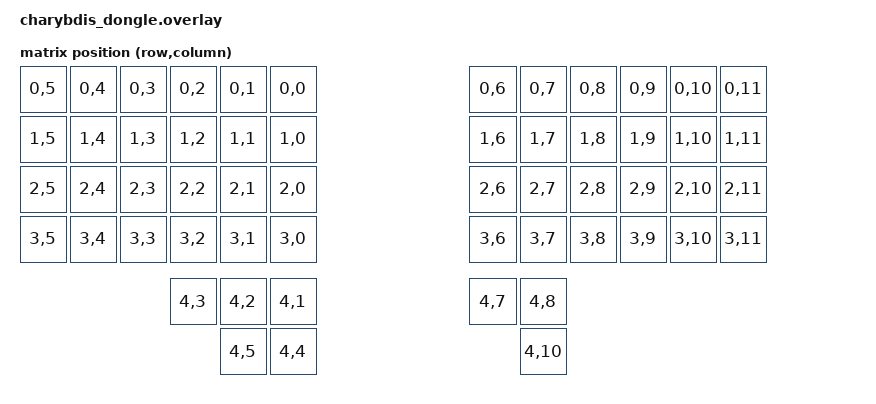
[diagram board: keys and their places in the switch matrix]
/*
 * ДОНГЛ (Seeed XIAO nRF52840). Роль central, физических клавиш нет.
 *
 * Матрица и физическая раскладка — копия charybdis.dtsi, но:
 *   - у layout-узла убрано свойство kscan (требование документации ZMK)
 *   - нет chosen zmk,underglow: на донгле нет led_strip
 *   - kscan заменён на mock, чтобы не занимать GPIO
 *
 * При правке матрицы в основном варианте синхронизировать и здесь.
 */

#include <dt-bindings/zmk/matrix_transform.h>
#include <dt-bindings/led/led.h>
#include <physical_layouts.dtsi>
#include <zephyr/dt-bindings/input/input-event-codes.h>
#include <input/processors.dtsi>

/ {
    chosen {
        zmk,kscan = &mock_kscan;
        zmk,physical-layout = &charybdis_physical_layout;
    };

    mock_kscan: mock_kscan_0 {
        compatible = "zmk,kscan-mock";
        columns = <0>;
        rows = <0>;
        events = <0>;
    };

    charybdis_physical_layout: charybdis_physical_layout {
        compatible = "zmk,physical-layout";
        display-name = "Charybdis 4x6";
        transform = <&default_transform>;
        keys =
            // Row 0: left (6 keys) + right (6 keys)
            <&key_physical_attrs 100 100   0   0 0 0 0>  // L0: Grave
          , <&key_physical_attrs 100 100 100   0 0 0 0>  // L1: N1
          , <&key_physical_attrs 100 100 200   0 0 0 0>  // L2: N2
          , <&key_physical_attrs 100 100 300   0 0 0 0>  // L3: N3
          , <&key_physical_attrs 100 100 400   0 0 0 0>  // L4: N4
          , <&key_physical_attrs 100 100 500   0 0 0 0>  // L5: N5
          , <&key_physical_attrs 100 100 900   0 0 0 0>  // R0: N6
          , <&key_physical_attrs 100 100 1000  0 0 0 0>  // R1: N7
          , <&key_physical_attrs 100 100 1100  0 0 0 0>  // R2: N8
          , <&key_physical_attrs 100 100 1200  0 0 0 0>  // R3: N9
          , <&key_physical_attrs 100 100 1300  0 0 0 0>  // R4: N0
          , <&key_physical_attrs 100 100 1400  0 0 0 0>  // R5: Backspace
            // Row 1: left (6 keys) + right (6 keys)
          , <&key_physical_attrs 100 100   0 100 0 0 0>  // L0: Tab
          , <&key_physical_attrs 100 100 100 100 0 0 0>  // L1: Q
          , <&key_physical_attrs 100 100 200 100 0 0 0>  // L2: W
          , <&key_physical_attrs 100 100 300 100 0 0 0>  // L3: E
          , <&key_physical_attrs 100 100 400 100 0 0 0>  // L4: R
          , <&key_physical_attrs 100 100 500 100 0 0 0>  // L5: T
          , <&key_physical_attrs 100 100 900 100 0 0 0>  // R0: Y
          , <&key_physical_attrs 100 100 1000 100 0 0 0> // R1: U
          , <&key_physical_attrs 100 100 1100 100 0 0 0> // R2: I
          , <&key_physical_attrs 100 100 1200 100 0 0 0> // R3: O
          , <&key_physical_attrs 100 100 1300 100 0 0 0> // R4: P
          , <&key_physical_attrs 100 100 1400 100 0 0 0> // R5: LBKT
            // Row 2: left (6 keys) + right (6 keys)
          , <&key_physical_attrs 100 100   0 200 0 0 0>  // L0: Caps
          , <&key_physical_attrs 100 100 100 200 0 0 0>  // L1: A
          , <&key_physical_attrs 100 100 200 200 0 0 0>  // L2: S
          , <&key_physical_attrs 100 100 300 200 0 0 0>  // L3: D
          , <&key_physical_attrs 100 100 400 200 0 0 0>  // L4: F
          , <&key_physical_attrs 100 100 500 200 0 0 0>  // L5: G
          , <&key_physical_attrs 100 100 900 200 0 0 0>  // R0: H
          , <&key_physical_attrs 100 100 1000 200 0 0 0> // R1: J
          , <&key_physical_attrs 100 100 1100 200 0 0 0> // R2: K
          , <&key_physical_attrs 100 100 1200 200 0 0 0> // R3: L
          , <&key_physical_attrs 100 100 1300 200 0 0 0> // R4: ;
          , <&key_physical_attrs 100 100 1400 200 0 0 0> // R5: '
            // Row 3: left (6 keys) + right (6 keys)
          , <&key_physical_attrs 100 100   0 300 0 0 0>  // L0: LShift
          , <&key_physical_attrs 100 100 100 300 0 0 0>  // L1: Z
          , <&key_physical_attrs 100 100 200 300 0 0 0>  // L2: X
          , <&key_physical_attrs 100 100 300 300 0 0 0>  // L3: C
          , <&key_physical_attrs 100 100 400 300 0 0 0>  // L4: V
          , <&key_physical_attrs 100 100 500 300 0 0 0>  // L5: B
          , <&key_physical_attrs 100 100 900 300 0 0 0>  // R0: N
          , <&key_physical_attrs 100 100 1000 300 0 0 0> // R1: M
          , <&key_physical_attrs 100 100 1100 300 0 0 0> // R2: ,
          , <&key_physical_attrs 100 100 1200 300 0 0 0> // R3: .
          , <&key_physical_attrs 100 100 1300 300 0 0 0> // R4: /
          , <&key_physical_attrs 100 100 1400 300 0 0 0> // R5: RShift
            // Подписи ниже — привязки слоя QWERTY из charybdis.keymap (для ориентации при чтении).
            // Thumbs left: 3 keys (row 4: RC(4,3) RC(4,2) RC(4,1))
          , <&key_physical_attrs 100 100 300 425 0 0 0>  // LT0: GUI
          , <&key_physical_attrs 100 100 400 425 0 0 0>  // LT1: Space
          , <&key_physical_attrs 100 100 500 425 0 0 0>  // LT2: MO(6) — corne_1 (стрелки на HJKL)
            // Thumbs right: 2 keys (row 4: RC(4,7) RC(4,8))
          , <&key_physical_attrs 100 100 900 425 0 0 0>  // RT0: MO(7) — corne_2 (мышь на HJKL)
          , <&key_physical_attrs 100 100 1000 425 0 0 0> // RT1: Space
            // Thumbs left bottom: 2 keys (RC(4,5) RC(4,4))
          , <&key_physical_attrs 100 100 400 525 0 0 0>  // LT3: Ctrl
          , <&key_physical_attrs 100 100 500 525 0 0 0>  // LT4: Alt
            // Thumb right bottom: 1 key (RC(4,10))
          , <&key_physical_attrs 100 100 1000 525 0 0 0> // RT2: Enter
          ;
    };

    default_transform: keymap_transform_0 {
		compatible = "zmk,matrix-transform";
        columns = <12>;
        rows = <5>;

        map = <
			RC(0,5) RC(0,4) RC(0,3) RC(0,2) RC(0,1) RC(0,0)                   RC(0,6) RC(0,7) RC(0,8) RC(0,9) RC(0,10) RC(0,11)
			RC(1,5) RC(1,4) RC(1,3) RC(1,2) RC(1,1) RC(1,0)                   RC(1,6) RC(1,7) RC(1,8) RC(1,9) RC(1,10) RC(1,11)
			RC(2,5) RC(2,4) RC(2,3) RC(2,2) RC(2,1) RC(2,0)                   RC(2,6) RC(2,7) RC(2,8) RC(2,9) RC(2,10) RC(2,11)
			RC(3,5) RC(3,4) RC(3,3) RC(3,2) RC(3,1) RC(3,0)                   RC(3,6) RC(3,7) RC(3,8) RC(3,9) RC(3,10) RC(3,11)
					                RC(4,3) RC(4,2) RC(4,1)                   RC(4,7)  RC(4,8)
									        RC(4,5) RC(4,4)                   RC(4,10) 
        >;
    };
	

    /*
     * Приёмник трекбола с правой половины. reg должен совпадать с
     * trackball_split в charybdis_right_dongle.overlay.
     */
    trackball_split: trackball_split@0 {
        compatible = "zmk,input-split";
        reg = <0>;
    };

    /*
     * Вся обработка указателя живёт здесь, а не в драйвере: на периферии нет
     * раскладки, поэтому режимы трекбола решаются только на central.
     *
     * Ускорение при этом остаётся в драйвере на периферии — оно чисто
     * арифметическое и от раскладки не зависит.
     *
     * Номера слоёв должны совпадать с config/charybdis.keymap:
     *   1 = mouse_layer, 2 = snipe, 3 = scroll
     */
    trackball_listener: trackball_listener {
        compatible = "zmk,input-listener";
        device = <&trackball_split>;

        // Auto mouse layer — как в основном варианте.
        input-processors = <&zip_temp_layer 1 800>;

        // Snipe: программное деление вместо аппаратной смены CPI сенсора
        // (с донгла CPI не поменять). Подбирать заново — это не то же самое,
        // что SNIPE_CPI=200 в прямом режиме.
        snipe_scaler {
            layers = <2>;
            input-processors = <&zip_xy_scaler 1 4>;
        };

        // Scroll: штатный маппер X/Y -> колесо. Механика отличается от
        // аккумулятора SCROLL_TICK в драйвере, скорость подбирать заново.
        scroll_mapper {
            layers = <3>;
            input-processors = <&zip_xy_to_scroll_mapper>;
        };
    };
};

// Настройки авто-слоя мыши — идентичны основному варианту.
&zip_temp_layer {
    require-prior-idle-ms = <200>;
    excluded-positions = <30 31 32 36 47 48 53 54>;
};
